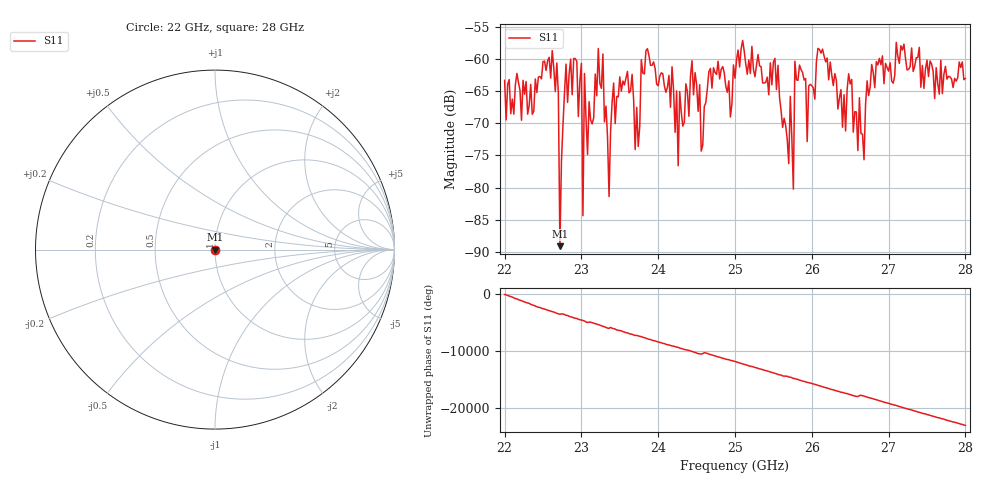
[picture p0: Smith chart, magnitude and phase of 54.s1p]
#  HZ  S  RI  R  50.00
! Rohde & Schwarz ZVA40 4Ports - Version 3.90 - 1145.1110k42 SN: 100403
! Date: 2023-10-04 11:23:41
! Measurement: S12
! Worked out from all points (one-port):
!   301 points, 22 GHz to 28 GHz, reference 50 ohm
!   lowest |S11| = -89.1 dB at 22.72 GHz (marker M1), VSWR 1.00, Z = 50 + j0.00298 ohm
!   |S11| at or under -10 dB: start of sweep to end of sweep
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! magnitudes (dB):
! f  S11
! 22 GHz  -63.3
! 22.62 GHz  -58.7
! 22.72 GHz  -89.1
! 22.76 GHz  -70.3
! 23 GHz  -60.6
! 23.02 GHz  -84.4
! 23.04 GHz  -62.2
! 23.08 GHz  -74.9
! 23.28 GHz  -59.2
! 23.36 GHz  -81.4
! 23.5 GHz  -62.7
! 23.7 GHz  -74.1
! 23.78 GHz  -60.1
! 24.18 GHz  -61.2
! 24.26 GHz  -76.6
! 24.44 GHz  -60.2
! 24.56 GHz  -74.3
! 25 GHz  -63.0
! 25.52 GHz  -59.9
! 25.76 GHz  -80.3
! 25.78 GHz  -60.3
! 25.94 GHz  -72.8
! 26.08 GHz  -58.3
! 26.5 GHz  -63.9
! 26.68 GHz  -75.7
! 26.78 GHz  -60.8
! 27.26 GHz  -61.6
! 28 GHz  -63.0
